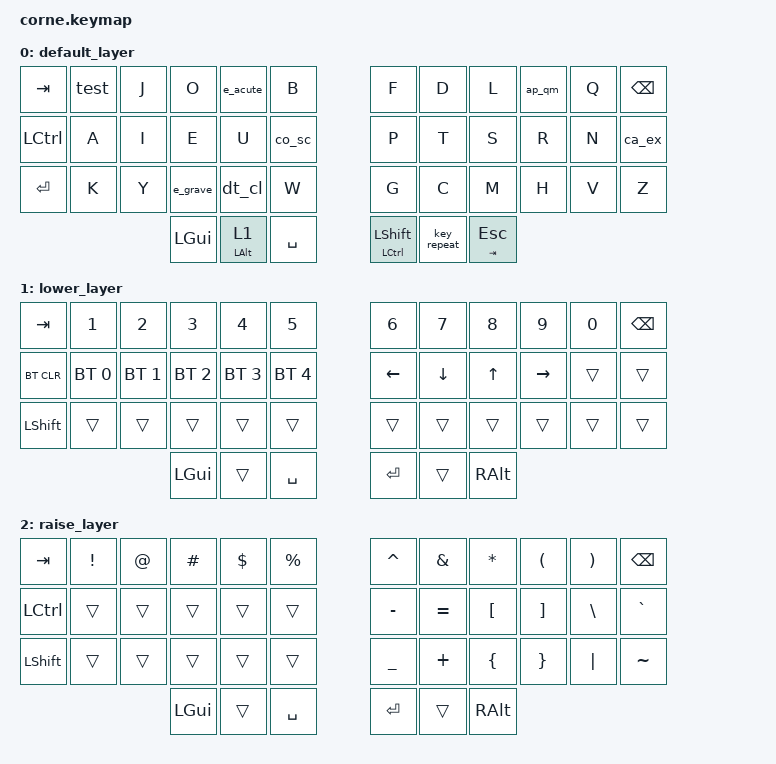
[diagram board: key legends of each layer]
/*
 * Copyright (c) 2020 The ZMK Contributors
 *
 * SPDX-License-Identifier: MIT
 */

#include <behaviors.dtsi>
#include <dt-bindings/zmk/keys.h>
#include <dt-bindings/zmk/bt.h>

&sk {
    release-after-ms = <2000>;
    quick-release;
    /delete-property/ ignore-modifiers;
};

/ {
    combos {
        compatible = "zmk,combos";
        combo_a_grave {
            timeout-ms = <30>;
            key-positions = <3 4>;  // O + É
            bindings = <&a_grave>;
        };
        combo_q {
            timeout-ms = <30>;
            key-positions = <7 8>;  // D + L
            bindings = <&kp Q>;
        };
        combo_underscore {
            timeout-ms = <30>;
            key-positions = <26 27>;  // Y + È
            bindings = <&kp UNDER>;
        };
        combo_dash {
            timeout-ms = <30>;
            key-positions = <27 28>;  // È + .
            bindings = <&kp MINUS>;
        };
        combo_c_cedilla {
            timeout-ms = <30>;
            key-positions = <31 32>;  // C + M
            bindings = <&c_cedilla>;
        };
        combo_z {
            timeout-ms = <30>;
            key-positions = <32 33>;  // M + H
            bindings = <&kp Z>;
        };
        combo_enter {
            timeout-ms = <30>;
            key-positions = <16 38>;  // U + SPACE
            bindings = <&kp ENTER>;
        };
    };

    macros {
        a_capital_grave: a_capital_grave {
            compatible = "zmk,behavior-macro";
            #binding-cells = <0>;
            wait-ms = <0>;
            tap-ms = <0>;
            bindings
                = <&macro_press &kp GRAVE>
                , <&macro_press &kp LS(A)>
                , <&macro_pause_for_release>
                , <&macro_release &kp GRAVE>
                , <&macro_release &kp LS(A)>
                ;
        };
        a_small_grave_internal: a_small_grave_internal {
            compatible = "zmk,behavior-macro";
            #binding-cells = <0>;
            wait-ms = <0>;
            tap-ms = <0>;
            bindings
                = <&macro_tap &kp GRAVE &kp A>
                ;
        };
        a_small_grave: a_small_grave {
            compatible = "zmk,behavior-macro";
            #binding-cells = <0>;
            wait-ms = <0>;
            tap-ms = <0>;
            bindings
                = <&macro_press &a_small_grave_internal>
                , <&macro_pause_for_release>
                , <&macro_release &a_small_grave_internal>
                ;
        };
        e_capital_circumflex: e_capital_circumflex {
            compatible = "zmk,behavior-macro";
            #binding-cells = <0>;
            wait-ms = <40>;
            tap-ms = <40>;
            bindings
                = <&macro_tap &kp P &kp R &kp O &kp O &kp F>
                ;
        };
        e_small_circumflex: e_small_circumflex {
            compatible = "zmk,behavior-macro";
            #binding-cells = <0>;
            wait-ms = <0>;
            tap-ms = <0>;
            bindings
                = <&macro_press &kp P &kp R &kp O &kp O &kp F>
                , <&macro_pause_for_release>
                , <&macro_release &kp P &kp R &kp O &kp O &kp F>
                ;
        };
        e_capital_grave_internal: e_capital_grave_internal {
            compatible = "zmk,behavior-macro";
            #binding-cells = <0>;
            wait-ms = <0>;
            tap-ms = <0>;
            bindings
                = <&macro_tap &kp P &kp R &kp O &kp O &kp F>
                ;
        };
        e_capital_grave: e_capital_grave {
            compatible = "zmk,behavior-macro";
            #binding-cells = <0>;
            wait-ms = <0>;
            tap-ms = <0>;
            bindings
                = <&macro_press &e_capital_grave_internal>
                , <&macro_pause_for_release>
                , <&macro_release &e_capital_grave_internal>
                ;
        };
        e_small_grave: e_small_grave {
            compatible = "zmk,behavior-macro";
            #binding-cells = <0>;
            wait-ms = <40>;
            tap-ms = <40>;
            bindings
                = <&macro_press &kp GRAVE &kp E>
                , <&macro_pause_for_release>
                , <&macro_release &kp GRAVE &kp E>
                ;
        };
        e_capital_acute: e_capital_acute {
            compatible = "zmk,behavior-macro";
            #binding-cells = <0>;
            wait-ms = <0>;
            tap-ms = <0>;
            bindings
                = <&macro_press   &kp RALT>
                , <&macro_press   &kp LS(E)>
                , <&macro_pause_for_release>
                , <&macro_release &kp RALT>
                , <&macro_release &kp LS(E)>
                ;
        };
        e_small_acute: e_small_acute {
            compatible = "zmk,behavior-macro";
            #binding-cells = <0>;
            wait-ms = <0>;
            tap-ms = <0>;
            bindings
                = <&macro_press   &kp RALT>
                , <&macro_press   &kp E>
                , <&macro_pause_for_release>
                , <&macro_release &kp RALT>
                , <&macro_release &kp E>
                ;
        };
        c_capital_cedilla: c_capital_cedilla {
            compatible = "zmk,behavior-macro";
            #binding-cells = <0>;
            wait-ms = <0>;
            tap-ms = <0>;
            bindings
                = <&macro_press   &kp RALT>
                , <&macro_press   &kp LS(COMMA)>
                , <&macro_pause_for_release>
                , <&macro_release &kp RALT>
                , <&macro_release &kp LS(COMMA)>
                ;
        };
        c_small_cedilla: c_small_cedilla {
            compatible = "zmk,behavior-macro";
            #binding-cells = <0>;
            wait-ms = <0>;
            tap-ms = <0>;
            bindings
                = <&macro_press   &kp RALT>
                , <&macro_press   &kp COMMA>
                , <&macro_pause_for_release>
                , <&macro_release &kp RALT>
                , <&macro_release &kp COMMA>
                ;
        };
        apos: apos {
            compatible = "zmk,behavior-macro";
            #binding-cells = <0>;
            wait-ms = <0>;
            tap-ms = <0>;
            bindings
                = <&macro_press   &kp APOSTROPHE>
                , <&macro_press   &kp SPACE>
                , <&macro_pause_for_release>
                , <&macro_release &kp APOSTROPHE>
                , <&macro_release &kp SPACE>
                ;
        };
    };
    
    behaviors {
        a_grave: a_grave {
            compatible = "zmk,behavior-mod-morph";
            #binding-cells = <0>;
            bindings = <&a_small_grave>, <&a_capital_grave>;
            mods = <(MOD_LSFT|MOD_RSFT)>;
        };
        test: test {
            compatible = "zmk,behavior-mod-morph";
            #binding-cells = <0>;
            bindings = <&e_small_circumflex>, <&e_capital_circumflex>;
            mods = <(MOD_LSFT|MOD_RSFT)>;
        };
        e_grave: e_grave {
            compatible = "zmk,behavior-mod-morph";
            #binding-cells = <0>;
            bindings = <&e_small_grave>, <&e_capital_grave>;
            mods = <(MOD_LSFT|MOD_RSFT)>;
        };
        e_acute: e_acute {
            compatible = "zmk,behavior-mod-morph";
            #binding-cells = <0>;
            bindings = <&e_small_acute>, <&e_capital_acute>;
            mods = <(MOD_LSFT|MOD_RSFT)>;
        };
        c_cedilla: c_cedilla {
            compatible = "zmk,behavior-mod-morph";
            #binding-cells = <0>;
            bindings = <&c_small_cedilla>, <&c_capital_cedilla>;
            mods = <(MOD_LSFT|MOD_RSFT)>;
        };
        ap_qm: ap_qm {
            compatible = "zmk,behavior-mod-morph";
            #binding-cells = <0>;
            bindings = <&apos>, <&kp QMARK>;
            mods = <(MOD_LSFT|MOD_RSFT)>;
        };
        ca_ex: ca_ex {
            compatible = "zmk,behavior-mod-morph";
            #binding-cells = <0>;
            bindings = <&kp CARET>, <&kp EXCL>;
            mods = <(MOD_LSFT|MOD_RSFT)>;
        };
        co_sc: co_sc {
            compatible = "zmk,behavior-mod-morph";
            #binding-cells = <0>;
            bindings = <&kp COMMA>, <&kp SEMICOLON>;
            mods = <(MOD_LSFT|MOD_RSFT)>;
        };
        dt_cl: dt_cl {
            compatible = "zmk,behavior-mod-morph";
            #binding-cells = <0>;
            bindings = <&kp DOT>, <&kp COLON>;
            mods = <(MOD_LSFT|MOD_RSFT)>;
        };
        mt_sk: mod_sticky_tap {
            compatible = "zmk,behavior-hold-tap";
            #binding-cells = <2>;
            flavor = "hold-preferred";
            tapping-term-ms = <200>;
            bindings = <&kp>, <&sk>;
            display-name = "Mod-Tap";
        };
        mt_mo_sk: mod_tap_mo {
            compatible = "zmk,behavior-hold-tap";
            #binding-cells = <2>;
            flavor = "hold-preferred";
            tapping-term-ms = <200>;
            bindings = <&sk>, <&mo>;
            display-name = "Mod-Tap";
        };
    };
                                           
                                            
    keymap {
        compatible = "zmk,keymap";

        default_layer {
            // -----------------------------------------------------------------------------------------
            // | TAB  |  À  |  J  |  O  |  É  |  B  |      |  F  |  D  |  L  | ' ? |  Q  | BKSP |
            // | CTRL |  A  |  I  |  E  |  U  | , ; |      |  P  |  T  |  S  |  R  |  N  | ^ !  |
            // | SHFT |  K  |  Y  |  È  | . : |  W  |      |  G  |  C  |  M  |  H  |  V  | Z    |
            //                    | GUI | LWR | SPC |      | ENT | RSE | ALT |
            // LEGEND:
            // DT_CL = dot, colon
            // AP_QM = apostrophe, question mark
            // CO_SC = comma, semicolon
            // CA_EX = carret, exclamation point

            bindings = <
&kp TAB    &test     &kp J  &kp O     &e_acute          &kp B            &kp F               &kp D        &kp L           &ap_qm  &kp Q  &kp BSPC
&kp LCTRL  &kp A     &kp I  &kp E     &kp U             &co_sc           &kp P               &kp T        &kp S           &kp R   &kp N  &ca_ex
&kp RET    &kp K     &kp Y  &e_grave  &dt_cl            &kp W            &kp G               &kp C        &kp M           &kp H   &kp V  &kp Z
                            &kp LGUI  &mt_mo_sk LALT 1  &kp SPACE        &mt_sk LCTRL LSHFT  &key_repeat  &mt_sk TAB ESC
            >;
        };

        lower_layer {
            // -----------------------------------------------------------------------------------------
            // |  TAB |  1  |  2  |  3  |  4  |  5  |      |  6  |  7  |  8  |  9  |  0  | BKSP |
            // | BTCLR| BT1 | BT2 | BT3 | BT4 | BT5 |      | LFT | DWN |  UP | RGT |     |      |
            // | SHFT |     |     |     |     |     |      |     |     |     |     |     |      |
            //                    | GUI |     | SPC |      | ENT |     | ALT |

            bindings = <
&kp TAB     &kp N1        &kp N2        &kp N3        &kp N4        &kp N5          &kp N6    &kp N7    &kp N8    &kp N9     &kp N0  &kp BSPC
&bt BT_CLR  &bt BT_SEL 0  &bt BT_SEL 1  &bt BT_SEL 2  &bt BT_SEL 3  &bt BT_SEL 4    &kp LEFT  &kp DOWN  &kp UP    &kp RIGHT  &trans  &trans
&kp LSHFT   &trans        &trans        &trans        &trans        &trans          &trans    &trans    &trans    &trans     &trans  &trans
                                        &kp LGUI      &trans        &kp SPACE       &kp RET   &trans    &kp RALT
            >;
        };

        raise_layer {
            // -----------------------------------------------------------------------------------------
            // |  TAB |  !  |  @  |  #  |  $  |  %  |      |  ^  |  &  |  *  |  (  |  )  | BKSP |
            // | CTRL |     |     |     |     |     |      |  -  |  =  |  [  |  ]  |  \  |  `   |
            // | SHFT |     |     |     |     |     |      |  _  |  +  |  {  |  }  | "|" |  ~   |
            //                    | GUI |     | SPC |      | ENT |     | ALT |

            bindings = <
&kp TAB    &kp EXCL  &kp AT  &kp HASH  &kp DLLR  &kp PRCNT    &kp CARET  &kp AMPS   &kp ASTRK  &kp LPAR  &kp RPAR  &kp BSPC
&kp LCTRL  &trans    &trans  &trans    &trans    &trans       &kp MINUS  &kp EQUAL  &kp LBKT   &kp RBKT  &kp BSLH  &kp GRAVE
&kp LSHFT  &trans    &trans  &trans    &trans    &trans       &kp UNDER  &kp PLUS   &kp LBRC   &kp RBRC  &kp PIPE  &kp TILDE
                             &kp LGUI  &trans    &kp SPACE    &kp RET    &trans     &kp RALT
            >;
        };
    };
};
